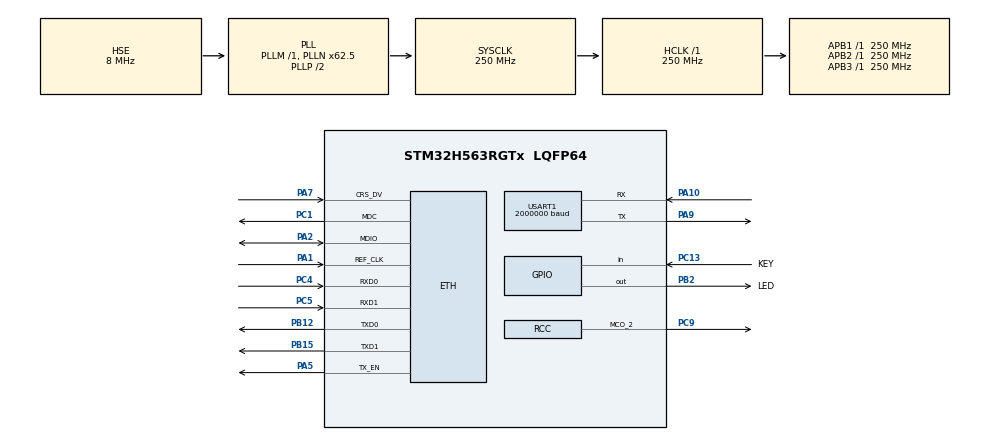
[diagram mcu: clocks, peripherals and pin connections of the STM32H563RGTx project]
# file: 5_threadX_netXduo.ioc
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BOOTPATH.BootPathName=LEGACY
BOOTPATH.UserSelectedBootPath=LEGACY
CORTEX_M33_NS.userName=CORTEX_M33
ETH.MediaInterface=HAL_ETH_RMII_MODE
ETH.RxBuffLen=1536
Mcu.Family=STM32H5
Mcu.Name=STM32H563RGTx
Mcu.Package=LQFP64
NETXDUO.ETH_ON=1
NETXDUO.LAN_8742=1
NETXDUO.NX_APP_IP_INSTANCE_THREAD_SIZE=2 * 1024
NETXDUO.NX_APP_MEM_POOL_SIZE=(1024 * 100)
NETXDUO.NX_APP_PACKET_POOL_SIZE=10
NETXDUO.NX_APP_THREAD_STACK_SIZE=2 * 1024
NETXDUO.NX_DEBUG=true
NETXDUO.NX_DEBUG_PACKET=true
NETXDUO.NX_ENABLE_EXTENDED_NOTIFY_SUPPORT=false
NETXDUO.NX_ENABLE_INTERFACE_CAPABILITY=true
NETXDUO.NX_ENABLE_PACKET_DEBUG_INFO=true
NETXDUO.NX_ENABLE_TCP_KEEPALIVE=true
NETXDUO.NX_ENABLE_TCP_QUEUE_DEPTH_UPDATE_NOTIFY=true
NETXDUO.NX_MAX_LISTEN_REQUESTS=1
NETXDUO.NX_TCP_IMMEDIATE_ACK=false
NETXDUO.NX_TCP_KEEPALIVE_RETRY=3
NETXDUO.NetXDuo_Generate_Init_Code=true
NVIC.ETH_IRQn=true\:7\:0\:true\:false\:true\:false\:true\:true\:true
NVIC.PriorityGroup=NVIC_PRIORITYGROUP_4
NVIC.TIM6_IRQn=true\:15\:0\:false\:false\:true\:false\:false\:true\:true
NVIC.TimeBase=TIM6_IRQn
NVIC.TimeBaseIP=TIM6
NetXDuo.BSP.number=1
NetXDuo0.BSP.STBoard=false
NetXDuo0.BSP.api=BSP_COMPONENT_DRIVER
NetXDuo0.BSP.component=lan8742
NetXDuo0.BSP.instance=lan8742
NetXDuo0.BSP.name=LAN_Component
NetXDuo0.BSP.semaphore=SEMA_lan8742
NetXDuo0.BSP.solution=lan8742
PA1.GPIO_Speed_Default_HIGH=GPIO_SPEED_FREQ_VERY_HIGH
PA1.Mode=RMII
PA1.Signal=ETH_REF_CLK
PA10.GPIO_PuPd=GPIO_PULLUP
PA10.GPIO_Speed=GPIO_SPEED_FREQ_VERY_HIGH
PA10.Mode=Asynchronous
PA10.Signal=USART1_RX
PA13(JTMS/SWDIO).Mode=Serial_Wire
PA13(JTMS/SWDIO).Signal=DEBUG_JTMS-SWDIO
PA14(JTCK/SWCLK).Mode=Serial_Wire
PA14(JTCK/SWCLK).Signal=DEBUG_JTCK-SWCLK
PA2.GPIO_Speed_Default_HIGH=GPIO_SPEED_FREQ_VERY_HIGH
PA2.Mode=RMII
PA2.Signal=ETH_MDIO
PA5.GPIO_Speed_Default_HIGH=GPIO_SPEED_FREQ_VERY_HIGH
PA5.Mode=RMII
PA5.Signal=ETH_TX_EN
PA7.GPIO_Speed_Default_HIGH=GPIO_SPEED_FREQ_VERY_HIGH
PA7.Mode=RMII
PA7.Signal=ETH_CRS_DV
PA9.GPIO_PuPd=GPIO_PULLUP
PA9.GPIO_Speed=GPIO_SPEED_FREQ_VERY_HIGH
PA9.Mode=Asynchronous
PA9.Signal=USART1_TX
PB12.GPIO_Speed_Default_HIGH=GPIO_SPEED_FREQ_VERY_HIGH
PB12.Mode=RMII
PB12.Signal=ETH_TXD0
PB15.GPIO_Speed_Default_HIGH=GPIO_SPEED_FREQ_VERY_HIGH
PB15.Mode=RMII
PB15.Signal=ETH_TXD1
PB2.GPIO_Label=LED
PB2.Signal=GPIO_Output
PC1.GPIO_Speed_Default_HIGH=GPIO_SPEED_FREQ_VERY_HIGH
PC1.Mode=RMII
PC1.Signal=ETH_MDC
PC13.GPIO_Label=KEY
PC13.Signal=GPIO_Input
PC4.GPIO_Speed_Default_HIGH=GPIO_SPEED_FREQ_VERY_HIGH
PC4.Mode=RMII
PC4.Signal=ETH_RXD0
PC5.GPIO_Speed_Default_HIGH=GPIO_SPEED_FREQ_VERY_HIGH
PC5.Mode=RMII
PC5.Signal=ETH_RXD1
PC9.Mode=Clock-out-2
PC9.Signal=RCC_MCO_2
PH0-OSC_IN(PH0).Mode=HSE-External-Oscillator
PH0-OSC_IN(PH0).Signal=RCC_OSC_IN
PH1-OSC_OUT(PH1).Mode=HSE-External-Oscillator
PH1-OSC_OUT(PH1).Signal=RCC_OSC_OUT
ProjectManager.HeapSize=0x2000
ProjectManager.StackSize=0x400
ProjectManager.TargetToolchain=EWARM V9.20
RCC.ADCFreq_Value=250000000
RCC.AHBFreq_Value=250000000
RCC.APB1Freq_Value=250000000
RCC.APB1TimFreq_Value=250000000
RCC.APB2Freq_Value=250000000
RCC.APB2TimFreq_Value=250000000
RCC.APB3Freq_Value=250000000
RCC.CSI_VALUE=4000000
RCC.CortexFreq_Value=250000000
RCC.EPOD_VALUE=8000000
RCC.HCLKFreq_Value=250000000
RCC.HSE_VALUE=8000000
RCC.HSI48_VALUE=48000000
RCC.HSI_VALUE=64000000
RCC.LSE_VALUE=32768
RCC.LSIRC_VALUE=32000
RCC.PLL2FRACN=0
RCC.PLL3FRACN=0
RCC.PLLFRACN=4096
RCC.PLLN=62
RCC.PLLSourceVirtual=RCC_PLL1_SOURCE_HSE
RCC.RCC_MCO2Div=RCC_MCODIV_10
RCC.SYSCLKFreq_VALUE=250000000
RCC.SYSCLKSource=RCC_SYSCLKSOURCE_PLLCLK
RCC.USBFreq_Value=48000000
RCC.VCOOutputFreq_Value=500000000
THREADX.TX_APP_GENERATE_INIT_CODE=false
THREADX.TX_TIMER_TICKS_PER_SECOND=1000
USART1.BaudRate=2000000
USART1.VirtualMode-Asynchronous=VM_ASYNC
VP_BOOTPATH_VS_BOOTPATH.Mode=BP_Activate
VP_CORTEX_M33_NS_VS_Hclk.Mode=Hclk_Mode
VP_ICACHE_VS_ICACHE.Mode=DefaultMode
VP_MEMORYMAP_VS_MEMORYMAP.Mode=CurAppReg
VP_NETXDUO_VS_AddonsOoDHCP.Mode=Addons_DHCP_Client
VP_NETXDUO_VS_EthernetOoPhyOoInterface.Mode=LAN8742_Phy_Interface
VP_NETXDUO_VS_NXOoCore.Mode=NX_Core
VP_NETXDUO_VS_NetworkOoInterface.Mode=Ethernet_Interface
VP_PWR_VS_DBSignals.Mode=DisableDeadBatterySignals
VP_PWR_VS_LPOM.Mode=PowerOptimisation
VP_PWR_VS_SECSignals.Mode=Security/Privilege
VP_SYS_VS_tim6.Mode=TIM6
VP_THREADX_VS_RTOSJjThreadXJjCoreJjDefault.Mode=Core_Default
board=custom

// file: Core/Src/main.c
/* USER CODE BEGIN Header */
/**
  ******************************************************************************
  * @file           : main.c
  * @brief          : Main program body
  ******************************************************************************
  * @attention
  *
  * Copyright (c) 2024 STMicroelectronics.
  * All rights reserved.
  *
  * This software is licensed under terms that can be found in the LICENSE file
  * in the root directory of this software component.
  * If no LICENSE file comes with this software, it is provided AS-IS.
  *
  ******************************************************************************
  */
/* USER CODE END Header */
#include "app_threadx.h"
#include "main.h"
#include "string.h"

ETH_TxPacketConfigTypeDef TxConfig;
ETH_DMADescTypeDef  DMARxDscrTab[ETH_RX_DESC_CNT]; /* Ethernet Rx DMA Descriptors */
ETH_DMADescTypeDef  DMATxDscrTab[ETH_TX_DESC_CNT]; /* Ethernet Tx DMA Descriptors */

ETH_HandleTypeDef heth;

UART_HandleTypeDef huart1;

void SystemClock_Config(void);
static void MX_GPIO_Init(void);
static void MX_USART1_UART_Init(void);
static void MX_ETH_Init(void);
static void MX_ICACHE_Init(void);

/* USER CODE BEGIN 0 */
#define PUTCHAR_PROTOTYPE int __io_putchar(int ch)	/* прототип функции для перенаправления printf на UART2 */

/**
  * @brief  Retargets the C library printf function to the USART.
  * @param  None
  * @retval None
  */
PUTCHAR_PROTOTYPE
{
        /* Place your implementation of fputc here */
        /* e.g. write a character to the USART1 and Loop until the end of transmission */
        HAL_UART_Transmit(&huart1, (uint8_t *)&ch, 1, 1);
        return(ch);
}

int MyLowLevelPutchar(int x) // отправка байта в UART
{
  	HAL_UART_Transmit(&huart1, (uint8_t *)&x, 1, HAL_MAX_DELAY);
	return(x);
}

int MyLowLevelGetchar() // получение байта из UART
{
  	uint8_t x;
	do
	{
	  	HAL_UART_Receive(&huart1, (uint8_t *)&x, 1, HAL_MAX_DELAY);
	}
	while(0 == x);
        return((int)x);
}
/* USER CODE END 0 */

int main(void)
{

  /* MCU Configuration--------------------------------------------------------*/

  /* Reset of all peripherals, Initializes the Flash interface and the Systick. */
  HAL_Init();

  /* Configure the system clock */
  SystemClock_Config();

  /* Initialize all configured peripherals */
  MX_GPIO_Init();
  MX_USART1_UART_Init();
  MX_ETH_Init();
  MX_ICACHE_Init();
  /* USER CODE BEGIN 2 */
  // заставка после инициализации и вывод статистики
  printf("\r\n\r\n\r\n\r\n\
 _    _    _____    _     _\r\n\
| |  | |  (_   _)  | |   | |\r\n\
| |  | |    | |    | |___| |\r\n\
 \\ \\/ /     | |     \\_____/\r\n\
  \\  /     _| |_      ___\r\n\
   \\/     (_____)    (___)\r\n\
\r\n\
 Transient Technologies LLC\r\n\
   Compiled version: 0.9b\r\n\
    " __TIME__ " " __DATE__ "\r\n\r\n\
        VIY S-5.xx\r\n\r\n");

	uint16_t x = 0x0001;
	printf("%s-endian\r\n\r\n", *((uint8_t *) &x) ? "little" : "big");
	printf("A timely sacrifice to the goddess of bugs and limitations. 5 sec.\r\n");
	HAL_Delay(5000);
	printf("Continuing in ThreadX.\r\n");
  /* USER CODE END 2 */

  MX_ThreadX_Init();

  /* We should never get here as control is now taken by the scheduler */

  /* Infinite loop */
  while (1)
  {

  }
}

void SystemClock_Config(void)
{
  RCC_OscInitTypeDef RCC_OscInitStruct = {0};
  RCC_ClkInitTypeDef RCC_ClkInitStruct = {0};

  /** Configure the main internal regulator output voltage
  */
  __HAL_PWR_VOLTAGESCALING_CONFIG(PWR_REGULATOR_VOLTAGE_SCALE0);

  while(!__HAL_PWR_GET_FLAG(PWR_FLAG_VOSRDY)) {}

  /** Initializes the RCC Oscillators according to the specified parameters
  * in the RCC_OscInitTypeDef structure.
  */
  RCC_OscInitStruct.OscillatorType = RCC_OSCILLATORTYPE_HSE;
  RCC_OscInitStruct.HSEState = RCC_HSE_ON;
  RCC_OscInitStruct.PLL.PLLState = RCC_PLL_ON;
  RCC_OscInitStruct.PLL.PLLSource = RCC_PLL1_SOURCE_HSE;
  RCC_OscInitStruct.PLL.PLLM = 1;
  RCC_OscInitStruct.PLL.PLLN = 62;
  RCC_OscInitStruct.PLL.PLLP = 2;
  RCC_OscInitStruct.PLL.PLLQ = 2;
  RCC_OscInitStruct.PLL.PLLR = 2;
  RCC_OscInitStruct.PLL.PLLRGE = RCC_PLL1_VCIRANGE_3;
  RCC_OscInitStruct.PLL.PLLVCOSEL = RCC_PLL1_VCORANGE_WIDE;
  RCC_OscInitStruct.PLL.PLLFRACN = 4096;
  if (HAL_RCC_OscConfig(&RCC_OscInitStruct) != HAL_OK)
  {
    Error_Handler();
  }

  /** Initializes the CPU, AHB and APB buses clocks
  */
  RCC_ClkInitStruct.ClockType = RCC_CLOCKTYPE_HCLK|RCC_CLOCKTYPE_SYSCLK
                              |RCC_CLOCKTYPE_PCLK1|RCC_CLOCKTYPE_PCLK2
                              |RCC_CLOCKTYPE_PCLK3;
  RCC_ClkInitStruct.SYSCLKSource = RCC_SYSCLKSOURCE_PLLCLK;
  RCC_ClkInitStruct.AHBCLKDivider = RCC_SYSCLK_DIV1;
  RCC_ClkInitStruct.APB1CLKDivider = RCC_HCLK_DIV1;
  RCC_ClkInitStruct.APB2CLKDivider = RCC_HCLK_DIV1;
  RCC_ClkInitStruct.APB3CLKDivider = RCC_HCLK_DIV1;

  if (HAL_RCC_ClockConfig(&RCC_ClkInitStruct, FLASH_LATENCY_5) != HAL_OK)
  {
    Error_Handler();
  }
  HAL_RCC_MCOConfig(RCC_MCO2, RCC_MCO2SOURCE_SYSCLK, RCC_MCODIV_10);

  /** Configure the programming delay
  */
  __HAL_FLASH_SET_PROGRAM_DELAY(FLASH_PROGRAMMING_DELAY_2);
}

static void MX_ETH_Init(void)
{

   static uint8_t MACAddr[6];

  heth.Instance = ETH;
  MACAddr[0] = 0x00;
  MACAddr[1] = 0x80;
  MACAddr[2] = 0xE1;
  MACAddr[3] = 0x00;
  MACAddr[4] = 0x00;
  MACAddr[5] = 0x00;
  heth.Init.MACAddr = &MACAddr[0];
  heth.Init.MediaInterface = HAL_ETH_RMII_MODE;
  heth.Init.TxDesc = DMATxDscrTab;
  heth.Init.RxDesc = DMARxDscrTab;
  heth.Init.RxBuffLen = 1536;

  if (HAL_ETH_Init(&heth) != HAL_OK)
  {
    Error_Handler();
  }

  memset(&TxConfig, 0 , sizeof(ETH_TxPacketConfigTypeDef));
  TxConfig.Attributes = ETH_TX_PACKETS_FEATURES_CSUM | ETH_TX_PACKETS_FEATURES_CRCPAD;
  TxConfig.ChecksumCtrl = ETH_CHECKSUM_IPHDR_PAYLOAD_INSERT_PHDR_CALC;
  TxConfig.CRCPadCtrl = ETH_CRC_PAD_INSERT;

}

static void MX_ICACHE_Init(void)
{

  /** Enable instruction cache (default 2-ways set associative cache)
  */
  if (HAL_ICACHE_Enable() != HAL_OK)
  {
    Error_Handler();
  }

}

static void MX_USART1_UART_Init(void)
{

  huart1.Instance = USART1;
  huart1.Init.BaudRate = 2000000;
  huart1.Init.WordLength = UART_WORDLENGTH_8B;
  huart1.Init.StopBits = UART_STOPBITS_1;
  huart1.Init.Parity = UART_PARITY_NONE;
  huart1.Init.Mode = UART_MODE_TX_RX;
  huart1.Init.HwFlowCtl = UART_HWCONTROL_NONE;
  huart1.Init.OverSampling = UART_OVERSAMPLING_16;
  huart1.Init.OneBitSampling = UART_ONE_BIT_SAMPLE_DISABLE;
  huart1.Init.ClockPrescaler = UART_PRESCALER_DIV1;
  huart1.AdvancedInit.AdvFeatureInit = UART_ADVFEATURE_NO_INIT;
  if (HAL_UART_Init(&huart1) != HAL_OK)
  {
    Error_Handler();
  }
  if (HAL_UARTEx_SetTxFifoThreshold(&huart1, UART_TXFIFO_THRESHOLD_1_8) != HAL_OK)
  {
    Error_Handler();
  }
  if (HAL_UARTEx_SetRxFifoThreshold(&huart1, UART_RXFIFO_THRESHOLD_1_8) != HAL_OK)
  {
    Error_Handler();
  }
  if (HAL_UARTEx_DisableFifoMode(&huart1) != HAL_OK)
  {
    Error_Handler();
  }

}

static void MX_GPIO_Init(void)
{
  GPIO_InitTypeDef GPIO_InitStruct = {0};

  /* GPIO Ports Clock Enable */
  __HAL_RCC_GPIOC_CLK_ENABLE();
  __HAL_RCC_GPIOH_CLK_ENABLE();
  __HAL_RCC_GPIOA_CLK_ENABLE();
  __HAL_RCC_GPIOB_CLK_ENABLE();

  /*Configure GPIO pin Output Level */
  HAL_GPIO_WritePin(LED_GPIO_Port, LED_Pin, GPIO_PIN_RESET);

  /*Configure GPIO pin : KEY_Pin */
  GPIO_InitStruct.Pin = KEY_Pin;
  GPIO_InitStruct.Mode = GPIO_MODE_INPUT;
  GPIO_InitStruct.Pull = GPIO_NOPULL;
  HAL_GPIO_Init(KEY_GPIO_Port, &GPIO_InitStruct);

  /*Configure GPIO pin : LED_Pin */
  GPIO_InitStruct.Pin = LED_Pin;
  GPIO_InitStruct.Mode = GPIO_MODE_OUTPUT_PP;
  GPIO_InitStruct.Pull = GPIO_NOPULL;
  GPIO_InitStruct.Speed = GPIO_SPEED_FREQ_LOW;
  HAL_GPIO_Init(LED_GPIO_Port, &GPIO_InitStruct);

  /*Configure GPIO pin : PC9 */
  GPIO_InitStruct.Pin = GPIO_PIN_9;
  GPIO_InitStruct.Mode = GPIO_MODE_AF_PP;
  GPIO_InitStruct.Pull = GPIO_NOPULL;
  GPIO_InitStruct.Speed = GPIO_SPEED_FREQ_LOW;
  GPIO_InitStruct.Alternate = GPIO_AF0_MCO;
  HAL_GPIO_Init(GPIOC, &GPIO_InitStruct);

}

void HAL_TIM_PeriodElapsedCallback(TIM_HandleTypeDef *htim)
{
  if (htim->Instance == TIM6) {
    HAL_IncTick();
  }
}

void Error_Handler(void)
{
  /* USER CODE BEGIN Error_Handler_Debug */
	HAL_GPIO_WritePin(LED_GPIO_Port, LED_Pin, GPIO_PIN_SET);
  /* User can add his own implementation to report the HAL error return state */
  __disable_irq();
  while (1)
  {
  }
  /* USER CODE END Error_Handler_Debug */
}
